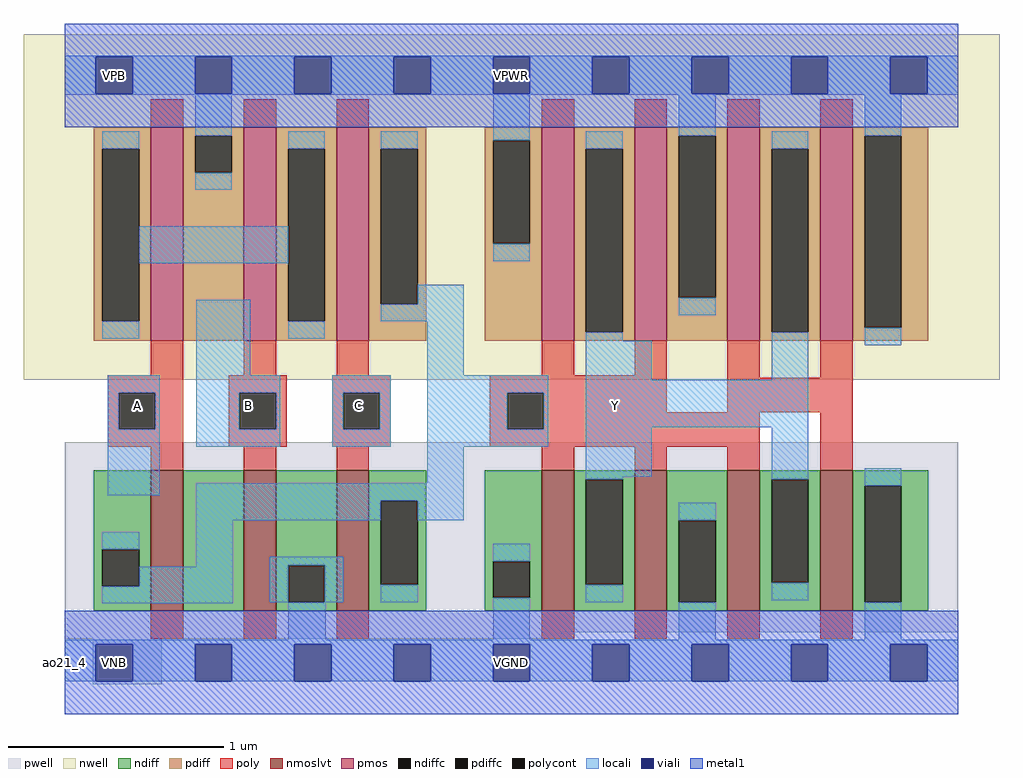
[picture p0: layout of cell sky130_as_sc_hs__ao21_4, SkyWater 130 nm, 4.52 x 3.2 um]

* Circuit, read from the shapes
.subckt sky130_as_sc_hs__ao21_4 VNB VPB VPWR VGND A B C Y
XM1 n1 A n2 VNB sky130_fd_pr__nfet_01v8_lvt w=0.65 l=0.15
XM2 VGND B n1 VNB sky130_fd_pr__nfet_01v8_lvt w=0.65 l=0.15
XM3 n2 C VGND VNB sky130_fd_pr__nfet_01v8_lvt w=0.65 l=0.15
XM4 Y n2 VGND VNB sky130_fd_pr__nfet_01v8_lvt w=0.65 l=0.15 m=4
XM5 VPWR A n3 VPB sky130_fd_pr__pfet_01v8 w=0.99 l=0.15
XM6 n3 B VPWR VPB sky130_fd_pr__pfet_01v8 w=0.99 l=0.15
XM7 n2 C n3 VPB sky130_fd_pr__pfet_01v8 w=0.99 l=0.15
XM8 Y n2 VPWR VPB sky130_fd_pr__pfet_01v8 w=0.99 l=0.15 m=4
.ends

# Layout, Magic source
magic
tech sky130A
magscale 1 2
<< nwell >>
rect -38 262 866 582
<< pwell >>
rect 0 28 828 204
rect 0 22 460 28
rect 26 -20 90 22
<< pmos >>
rect 80 298 110 496
rect 166 298 196 496
rect 252 298 282 496
rect 442 298 472 496
rect 528 298 558 496
rect 614 298 644 496
rect 700 298 730 496
<< nmoslvt >>
rect 80 48 110 178
rect 166 48 196 178
rect 252 48 282 178
rect 442 48 472 178
rect 528 48 558 178
rect 614 48 644 178
rect 700 48 730 178
<< ndiff >>
rect 27 105 80 178
rect 27 71 35 105
rect 69 71 80 105
rect 27 48 80 71
rect 110 48 166 178
rect 196 90 252 178
rect 196 56 207 90
rect 241 56 252 90
rect 196 48 252 56
rect 282 150 335 178
rect 282 72 293 150
rect 327 72 335 150
rect 282 48 335 72
rect 389 94 442 178
rect 389 60 397 94
rect 431 60 442 94
rect 389 48 442 60
rect 472 170 528 178
rect 472 72 483 170
rect 517 72 528 170
rect 472 48 528 72
rect 558 132 614 178
rect 558 56 569 132
rect 603 56 614 132
rect 558 48 614 56
rect 644 170 700 178
rect 644 74 655 170
rect 689 74 700 170
rect 644 48 700 74
rect 730 164 800 178
rect 730 56 741 164
rect 775 56 800 164
rect 730 48 800 56
<< pdiff >>
rect 27 476 80 496
rect 27 316 35 476
rect 69 316 80 476
rect 27 298 80 316
rect 110 488 166 496
rect 110 454 121 488
rect 155 454 166 488
rect 110 298 166 454
rect 196 476 252 496
rect 196 316 207 476
rect 241 316 252 476
rect 196 298 252 316
rect 282 476 335 496
rect 282 332 293 476
rect 327 332 335 476
rect 282 298 335 332
rect 389 484 442 496
rect 389 388 397 484
rect 431 388 442 484
rect 389 298 442 388
rect 472 476 528 496
rect 472 306 483 476
rect 517 306 528 476
rect 472 298 528 306
rect 558 488 614 496
rect 558 338 569 488
rect 603 338 614 488
rect 558 298 614 338
rect 644 476 700 496
rect 644 306 655 476
rect 689 306 700 476
rect 644 298 700 306
rect 730 488 800 496
rect 730 310 741 488
rect 775 310 800 488
rect 730 298 800 310
<< ndiffc >>
rect 35 71 69 105
rect 207 56 241 90
rect 293 72 327 150
rect 397 60 431 94
rect 483 72 517 170
rect 569 56 603 132
rect 655 74 689 170
rect 741 56 775 164
<< pdiffc >>
rect 35 316 69 476
rect 121 454 155 488
rect 207 316 241 476
rect 293 332 327 476
rect 397 388 431 484
rect 483 306 517 476
rect 569 338 603 488
rect 655 306 689 476
rect 741 310 775 488
<< poly >>
rect 80 496 110 522
rect 166 496 196 522
rect 252 496 282 522
rect 442 496 472 522
rect 528 496 558 522
rect 614 496 644 522
rect 700 496 730 522
rect 80 266 110 298
rect 166 266 196 298
rect 252 266 282 298
rect 442 266 472 298
rect 528 266 558 298
rect 40 250 110 266
rect 40 216 50 250
rect 84 216 110 250
rect 40 200 110 216
rect 152 250 206 266
rect 152 216 162 250
rect 196 216 206 250
rect 152 200 206 216
rect 248 250 302 266
rect 248 216 258 250
rect 292 216 302 250
rect 248 200 302 216
rect 394 250 558 266
rect 394 216 410 250
rect 444 232 558 250
rect 614 264 644 298
rect 700 264 730 298
rect 614 232 730 264
rect 444 216 644 232
rect 394 200 644 216
rect 80 178 110 200
rect 166 178 196 200
rect 252 178 282 200
rect 442 178 472 200
rect 528 178 558 200
rect 614 178 644 200
rect 700 178 730 232
rect 80 22 110 48
rect 166 22 196 48
rect 252 22 282 48
rect 442 22 472 48
rect 528 22 558 48
rect 614 22 644 48
rect 700 22 730 48
<< polycont >>
rect 50 216 84 250
rect 162 216 196 250
rect 258 216 292 250
rect 410 216 444 250
<< locali >>
rect 0 561 828 562
rect 0 527 29 561
rect 63 527 121 561
rect 155 527 213 561
rect 247 527 305 561
rect 339 527 397 561
rect 431 527 489 561
rect 523 527 581 561
rect 615 527 673 561
rect 707 527 765 561
rect 799 527 828 561
rect 0 526 828 527
rect 35 476 69 492
rect 121 488 155 526
rect 121 438 155 454
rect 207 476 241 492
rect 69 370 207 404
rect 35 300 69 316
rect 122 266 172 336
rect 293 476 327 492
rect 397 484 431 526
rect 397 372 431 388
rect 483 476 517 492
rect 327 332 370 350
rect 293 316 370 332
rect 207 300 241 316
rect 336 266 370 316
rect 569 488 603 526
rect 569 322 603 338
rect 655 476 689 492
rect 483 298 517 306
rect 40 250 88 266
rect 40 216 50 250
rect 84 216 88 250
rect 40 155 88 216
rect 122 250 200 266
rect 122 216 162 250
rect 196 216 200 250
rect 122 200 200 216
rect 248 250 302 266
rect 248 216 258 250
rect 292 216 302 250
rect 248 200 302 216
rect 336 250 448 266
rect 336 216 410 250
rect 444 216 448 250
rect 336 200 448 216
rect 483 262 544 298
rect 655 262 689 306
rect 741 488 775 526
rect 741 294 775 310
rect 483 218 689 262
rect 336 166 370 200
rect 122 150 370 166
rect 122 132 293 150
rect 35 105 69 121
rect 122 89 156 132
rect 69 71 156 89
rect 35 55 156 71
rect 190 90 258 98
rect 190 56 207 90
rect 241 56 258 90
rect 327 132 370 150
rect 483 172 544 218
rect 483 170 517 172
rect 293 56 327 72
rect 397 94 431 110
rect 207 21 242 56
rect 397 21 431 60
rect 655 170 689 218
rect 483 56 517 72
rect 569 132 603 148
rect 655 58 689 74
rect 741 164 775 180
rect 569 21 603 56
rect 741 21 775 56
rect 0 17 828 21
rect 0 -17 29 17
rect 63 -17 121 17
rect 155 -17 213 17
rect 247 -17 305 17
rect 339 -17 397 17
rect 431 -17 489 17
rect 523 -17 581 17
rect 615 -17 673 17
rect 707 -17 765 17
rect 799 -17 828 17
<< viali >>
rect 29 527 63 561
rect 121 527 155 561
rect 213 527 247 561
rect 305 527 339 561
rect 397 527 431 561
rect 489 527 523 561
rect 581 527 615 561
rect 673 527 707 561
rect 765 527 799 561
rect 29 -17 63 17
rect 121 -17 155 17
rect 213 -17 247 17
rect 305 -17 339 17
rect 397 -17 431 17
rect 489 -17 523 17
rect 581 -17 615 17
rect 673 -17 707 17
rect 765 -17 799 17
<< metal1 >>
rect 0 561 828 592
rect 0 527 29 561
rect 63 527 121 561
rect 155 527 213 561
rect 247 527 305 561
rect 339 527 397 561
rect 431 527 489 561
rect 523 527 581 561
rect 615 527 673 561
rect 707 527 765 561
rect 799 527 828 561
rect 0 496 828 527
rect 0 17 828 48
rect 0 -17 29 17
rect 63 -17 121 17
rect 155 -17 213 17
rect 247 -17 305 17
rect 339 -17 397 17
rect 431 -17 489 17
rect 523 -17 581 17
rect 615 -17 673 17
rect 707 -17 765 17
rect 799 -17 828 17
rect 0 -48 828 -17
<< labels >>
rlabel comment s 0 0 0 0 4 ao21_4
flabel pwell s 29 -17 63 17 0 FreeSans 200 0 0 0 VNB
port 1 nsew ground bidirectional
flabel pwell s 46 0 46 0 0 FreeSans 200 0 0 0 VNB
flabel nwell s 29 527 63 561 0 FreeSans 200 0 0 0 VPB
port 2 nsew power bidirectional
flabel nwell s 46 544 46 544 0 FreeSans 200 0 0 0 VPB
flabel metal1 s 29 527 63 561 0 FreeSans 200 0 0 0 VPWR
port 3 nsew power bidirectional abutment
flabel metal1 s 29 -17 63 17 0 FreeSans 200 0 0 0 VGND
port 4 nsew ground bidirectional abutment
rlabel metal1 s 0 -48 828 48 1 VGND
port 4 nsew ground bidirectional abutment
rlabel metal1 s 0 496 828 592 1 VPWR
port 3 nsew power bidirectional abutment
flabel locali s 51 221 85 255 0 FreeSans 200 0 0 0 A
port 5 nsew signal input
flabel locali s 68 238 68 238 0 FreeSans 200 0 0 0 A
flabel locali s 153 221 187 255 0 FreeSans 200 0 0 0 B
port 6 nsew signal input
flabel locali s 170 238 170 238 0 FreeSans 200 0 0 0 B
flabel locali s 255 221 289 255 0 FreeSans 200 0 0 0 C
port 7 nsew signal input
flabel locali s 272 238 272 238 0 FreeSans 200 0 0 0 C
flabel locali s 493 221 527 255 0 FreeSans 200 0 0 0 Y
port 8 nsew signal output
flabel locali s 510 238 510 238 0 FreeSans 200 0 0 0 Y
<< properties >>
string FIXED_BBOX 0 0 828 544
string GDS_FILE $PDKPATH/libs.ref/sky130_as_sc_hs/gds/sky130_as_sc_hs__ao21_4.gds
string LEFclass CORE
string LEFsite unithd
string LEFsymmetry X Y R90
string MASKHINTS_LVTN 0 -4 828 220
string MASKHINTS_NSDM 0 -38 828 209
string MASKHINTS_PSDM 0 273 828 582
<< end >>
